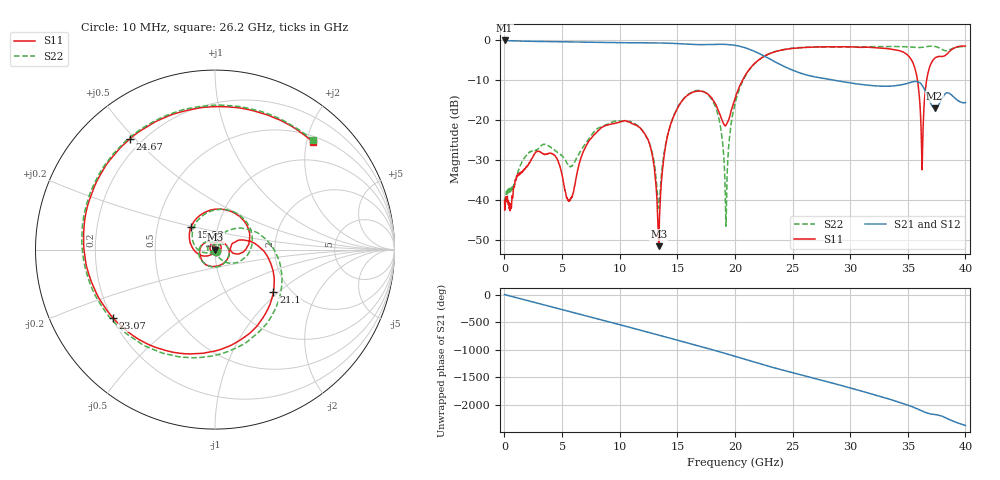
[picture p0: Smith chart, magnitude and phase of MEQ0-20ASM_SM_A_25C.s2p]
!Keysight Technologies,N5247B,US58420632,A.17.35.14
!Date: Wednesday, October 08, 2025 14:17:51
!Correction: S11(C  2-Port  )
!S21(C  2-Port  )
!S12(C  2-Port  )
!S22(C  2-Port  )
!S2P File: Measurements: S11, S21, S12, S22:
# Hz S  dB  R 50
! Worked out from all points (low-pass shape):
!   4000 points, 10 MHz to 40 GHz, reference 50 ohm
!   highest |S21| = -0.08 dB at 10 MHz (marker M1); lowest = -17.0 dB at 37.33 GHz (marker M2)
!   |S21| within 3 dB of the highest: start of sweep to 21.91 GHz
!   lowest |S11| = -51.5 dB at 13.38 GHz (marker M3), VSWR 1.01, Z = 50.3 - j0.0499 ohm
!   |S11| at or under -10 dB: start of sweep to 20.66 GHz; 35.84 GHz to 36.64 GHz (794.2 MHz wide, 2.19 % of centre)
!   |S22| runs from -46.5 to -1.5 dB; largest |S21 - S12| = 0.00088
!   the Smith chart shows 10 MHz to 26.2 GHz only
!   S11 on the Smith chart (normalised r, x): 10 MHz: 1.01, -0.01; 15.53 GHz: 0.74, +0.19; 21.1 GHz: 1.63, -0.93; 23.07 GHz: 0.20, -0.29; 24.67 GHz: 0.15, +0.48; 26.2 GHz: 0.61, +2.13
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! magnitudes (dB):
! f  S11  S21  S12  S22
! 10 MHz  -40.2  -0.1  -0.1  -39.5
! 2.9 GHz  -27.8  -0.3  -0.3  -27.2
! 5.67 GHz  -40.0  -0.4  -0.4  -31.6
! 6.68 GHz  -29.1  -0.5  -0.5  -27.4
! 11.62 GHz  -21.6  -0.7  -0.7  -21.6
! 13.34 GHz  -47.3  -0.7  -0.7  -40.9
! 13.38 GHz  -51.5  -0.7  -0.7  -42.0
! 14.15 GHz  -23.9  -0.8  -0.8  -23.8
! 15.53 GHz  -14.7  -1.0  -1.0  -14.7
! 18.13 GHz  -15.1  -1.1  -1.1  -15.6
! 19.21 GHz  -21.3  -1.1  -1.1  -45.9
! 20.01 GHz  -14.5  -1.3  -1.3  -15.8
! 21.1 GHz  -7.9  -2.1  -2.1  -8.0
! 23.07 GHz  -3.3  -4.8  -4.8  -3.3
! 24.67 GHz  -2.2  -7.1  -7.1  -2.1
! 26.2 GHz  -1.8  -8.7  -8.7  -1.8
! 26.67 GHz  -1.7  -9.0  -9.0  -1.7
! 33.34 GHz  -2.2  -11.5  -11.5  -1.6
! 35.44 GHz  -5.6  -10.4  -10.4  -1.8
! 36.24 GHz  -32.4  -11.3  -11.3  -1.8
! 37.33 GHz  -4.6  -17.0  -17.0  -1.6
! 40 GHz  -1.5  -15.6  -15.6  -1.8
